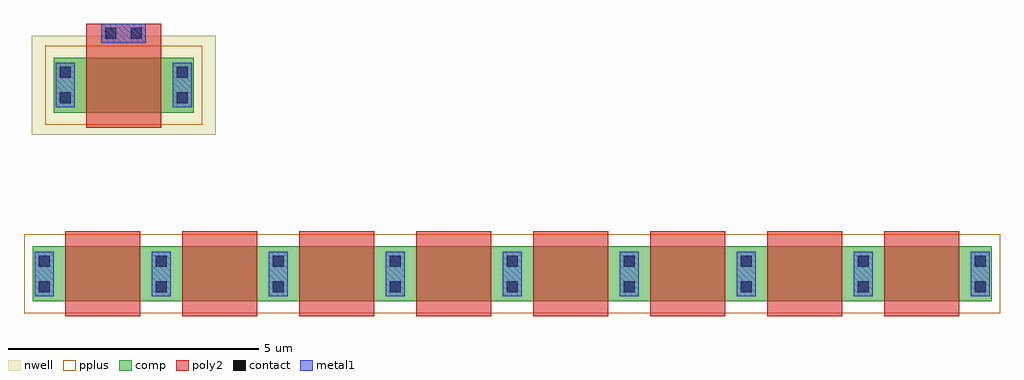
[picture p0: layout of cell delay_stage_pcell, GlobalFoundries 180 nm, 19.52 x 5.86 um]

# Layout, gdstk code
import gdstk
lib = gdstk.Library(unit=1e-6, precision=5e-09)
def R(c, l, rs):  # rectangles x0, y0, x1, y1
    for r in rs: c.add(gdstk.rectangle(r[:2], r[2:], *l))
nwell = (21, 0)
comp = (22, 0)
poly2 = (30, 0)
pplus = (31, 0)
contact = (33, 0)
metal1 = (34, 0)

delay_stage_pcell_1_1 = lib.new_cell('delay_stage_pcell_1$1')
R(delay_stage_pcell_1_1, comp, [(0.17,0.3,0.63,1.4), (0.63,0.3,2.51,1.4), (2.51,0.3,2.97,1.4)])
R(delay_stage_pcell_1_1, poly2, [(0.82,0,2.32,1.7)])
R(delay_stage_pcell_1_1, pplus, [(0,0.06,3.14,1.64)])
R(delay_stage_pcell_1_1, contact, [(0.29,0.485,0.51,0.705), (2.63,0.485,2.85,0.705), (0.29,0.995,0.51,1.215), (2.63,0.995,2.85,1.215)])
R(delay_stage_pcell_1_1, metal1, [(0.21,0.405,0.59,1.295), (2.55,0.405,2.93,1.295)])

delay_stage_pcell_4 = lib.new_cell('delay_stage_pcell_4')
delay_stage_pcell_4.add(gdstk.Reference(delay_stage_pcell_1_1, (0,0)))
delay_stage_pcell_4.add(gdstk.Reference(delay_stage_pcell_1_1, (2.34,0)))
delay_stage_pcell_4.add(gdstk.Reference(delay_stage_pcell_1_1, (4.68,0)))
delay_stage_pcell_4.add(gdstk.Reference(delay_stage_pcell_1_1, (7.02,0)))

pfet = lib.new_cell('pfet')
R(pfet, nwell, [(-0.9,-0.44,2.78,1.54)])
R(pfet, comp, [(-0.46,0,0,1.1), (0,0,1.88,1.1), (1.88,0,2.34,1.1)])
R(pfet, poly2, [(0.19,-0.3,1.69,1.4), (0.19,1.4,1.69,1.78)])
R(pfet, pplus, [(-0.63,-0.24,2.51,1.34)])
R(pfet, contact, [(-0.34,0.185,-0.12,0.405), (2,0.185,2.22,0.405), (-0.34,0.695,-0.12,0.915), (2,0.695,2.22,0.915), (0.575,1.48,0.795,1.7), (1.085,1.48,1.305,1.7)])
R(pfet, metal1, [(-0.42,0.105,-0.04,0.995), (1.92,0.105,2.3,0.995), (0.495,1.4,1.385,1.78)])

delay_stage_pcell = lib.new_cell('delay_stage_pcell')
delay_stage_pcell.add(gdstk.Reference(delay_stage_pcell_4, (0.68,1.33)))
delay_stage_pcell.add(gdstk.Reference(delay_stage_pcell_4, (10.04,1.33)))
delay_stage_pcell.add(gdstk.Reference(pfet, (1.73,5.405)))

lib.write_gds('delay_stage_pcell.gds')
